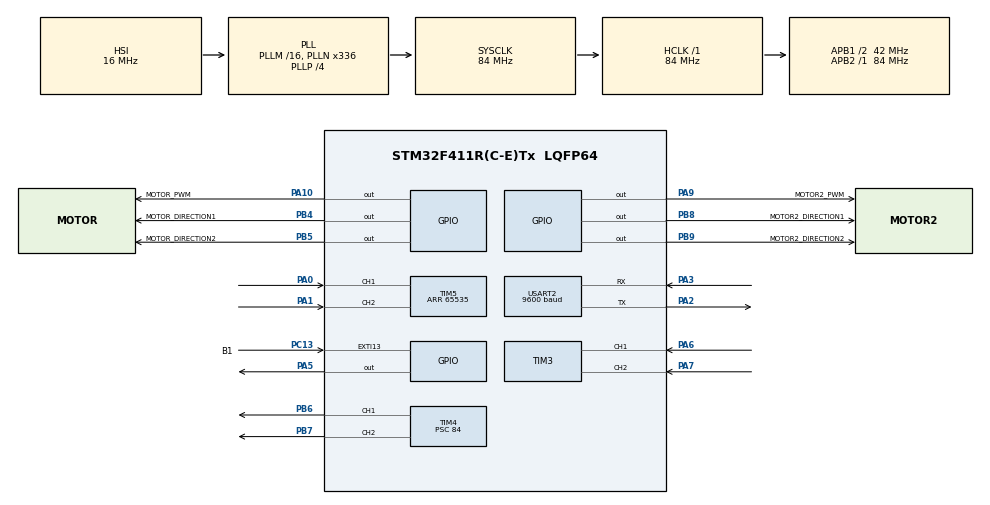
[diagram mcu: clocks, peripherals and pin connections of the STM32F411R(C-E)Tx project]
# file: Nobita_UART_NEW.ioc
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Dma.Request0=USART2_RX
Dma.USART2_RX.0.Direction=DMA_PERIPH_TO_MEMORY
Dma.USART2_RX.0.FIFOMode=DMA_FIFOMODE_DISABLE
Dma.USART2_RX.0.Instance=DMA1_Stream5
Dma.USART2_RX.0.MemDataAlignment=DMA_MDATAALIGN_BYTE
Dma.USART2_RX.0.MemInc=DMA_MINC_ENABLE
Dma.USART2_RX.0.Mode=DMA_CIRCULAR
Dma.USART2_RX.0.PeriphDataAlignment=DMA_PDATAALIGN_BYTE
Dma.USART2_RX.0.PeriphInc=DMA_PINC_DISABLE
Dma.USART2_RX.0.Priority=DMA_PRIORITY_LOW
Mcu.Family=STM32F4
Mcu.Name=STM32F411R(C-E)Tx
Mcu.Package=LQFP64
NVIC.DMA1_Stream5_IRQn=true\:0\:0\:false\:false\:true\:false\:true
NVIC.EXTI15_10_IRQn=true\:0\:0\:false\:false\:true\:true\:true
NVIC.PriorityGroup=NVIC_PRIORITYGROUP_4
NVIC.TIM1_UP_TIM10_IRQn=true\:0\:0\:false\:false\:true\:true\:true
NVIC.TIM2_IRQn=true\:0\:0\:false\:false\:true\:true\:true
NVIC.TIM3_IRQn=true\:0\:0\:false\:false\:true\:true\:true
NVIC.USART2_IRQn=true\:0\:0\:false\:false\:true\:true\:true
PA0-WKUP.GPIO_PuPd=GPIO_PULLUP
PA0-WKUP.Signal=S_TIM5_CH1
PA1.GPIO_PuPd=GPIO_PULLUP
PA1.Signal=S_TIM5_CH2
PA10.GPIO_Label=MOTOR_PWM
PA10.Signal=GPIO_Output
PA13.GPIO_Label=TMS
PA13.Mode=Serial_Wire
PA13.Signal=SYS_JTMS-SWDIO
PA14.GPIO_Label=TCK
PA14.Mode=Serial_Wire
PA14.Signal=SYS_JTCK-SWCLK
PA2.Mode=Asynchronous
PA2.Signal=USART2_TX
PA3.Mode=Asynchronous
PA3.Signal=USART2_RX
PA5.Signal=GPIO_Output
PA6.GPIO_PuPd=GPIO_PULLUP
PA6.Signal=S_TIM3_CH1
PA7.GPIO_PuPd=GPIO_PULLUP
PA7.Signal=S_TIM3_CH2
PA9.GPIO_Label=MOTOR2_PWM
PA9.Signal=GPIO_Output
PB3.GPIO_Label=SWO
PB3.Signal=SYS_JTDO-SWO
PB4.GPIO_Label=MOTOR_DIRECTION1
PB4.Signal=GPIO_Output
PB5.GPIO_Label=MOTOR_DIRECTION2
PB5.Signal=GPIO_Output
PB6.Signal=S_TIM4_CH1
PB7.Signal=S_TIM4_CH2
PB8.GPIO_Label=MOTOR2_DIRECTION1
PB8.Signal=GPIO_Output
PB9.GPIO_Label=MOTOR2_DIRECTION2
PB9.Signal=GPIO_Output
PC13-ANTI_TAMP.GPIO_Label=B1
PC13-ANTI_TAMP.Signal=GPXTI13
PC14-OSC32_IN.Mode=LSE-External-Oscillator
PC14-OSC32_IN.Signal=RCC_OSC32_IN
PC15-OSC32_OUT.Mode=LSE-External-Oscillator
PC15-OSC32_OUT.Signal=RCC_OSC32_OUT
PH0\ -\ OSC_IN.Mode=HSE-External-Clock-Source
PH0\ -\ OSC_IN.Signal=RCC_OSC_IN
PH1\ -\ OSC_OUT.Mode=HSE-External-Clock-Source
PH1\ -\ OSC_OUT.Signal=RCC_OSC_OUT
ProjectManager.HeapSize=0x200
ProjectManager.StackSize=0x400
ProjectManager.TargetToolchain=STM32CubeIDE
RCC.48MHZClocksFreq_Value=84000000
RCC.AHBFreq_Value=84000000
RCC.APB1CLKDivider=RCC_HCLK_DIV2
RCC.APB1Freq_Value=42000000
RCC.APB1TimFreq_Value=84000000
RCC.APB2Freq_Value=84000000
RCC.APB2TimFreq_Value=84000000
RCC.CortexFreq_Value=84000000
RCC.HCLKFreq_Value=84000000
RCC.HSE_VALUE=8000000
RCC.HSI_VALUE=16000000
RCC.PLLN=336
RCC.PLLP=RCC_PLLP_DIV4
RCC.SYSCLKFreq_VALUE=84000000
RCC.SYSCLKSource=RCC_SYSCLKSOURCE_PLLCLK
RCC.VCOOutputFreq_Value=336000000
SH.S_TIM3_CH1.0=TIM3_CH1,Encoder_Interface
SH.S_TIM3_CH2.0=TIM3_CH2,Encoder_Interface
SH.S_TIM4_CH1.0=TIM4_CH1,PWM Generation1 CH1
SH.S_TIM4_CH2.0=TIM4_CH2,PWM Generation2 CH2
SH.S_TIM5_CH1.0=TIM5_CH1,Encoder_Interface
SH.S_TIM5_CH2.0=TIM5_CH2,Encoder_Interface
TIM1.Period=1000
TIM1.Prescaler=84
TIM2.Period=800
TIM2.Prescaler=35999
TIM4.AutoReloadPreload=TIM_AUTORELOAD_PRELOAD_DISABLE
TIM4.Channel-PWM\ Generation1\ CH1=TIM_CHANNEL_1
TIM4.Channel-PWM\ Generation2\ CH2=TIM_CHANNEL_2
TIM4.Period=1000
TIM4.Prescaler=84
TIM5.Period=65535
USART2.BaudRate=9600
USART2.VirtualMode=VM_ASYNC
VP_TIM1_VS_ClockSourceINT.Mode=Internal
VP_TIM2_VS_ClockSourceINT.Mode=Internal
board=custom

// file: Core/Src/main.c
/* USER CODE BEGIN Header */
/**
  ******************************************************************************
  * @file           : main.c
  * @brief          : Main program body
  ******************************************************************************
  * @attention
  *
  * <h2><center>&copy; Copyright (c) 2020 STMicroelectronics.
  * All rights reserved.</center></h2>
  *
  * This software component is licensed by ST under BSD 3-Clause license,
  * the "License"; You may not use this file except in compliance with the
  * License. You may obtain a copy of the License at:
  *                        opensource.org/licenses/BSD-3-Clause
  *
  ******************************************************************************
  */
/*
 * MOTOR_PWM = PA10 = D2
 * MOTOR_PWM2 = PA9 = D8
 * MOTOR_DIRECTION1 = PB4 = D5
 * MOTOR_DIRECTION2 = PB5 = D4
 * MOTOR2_DIRECTION1 = PB8 = D15
 * MOTOR2_DIRECTION2 = PB9 = D14
 * TIM4_CH1 = PB6 = D12
 * TIM4_CH2 = PB7 = D11
 * TIM5_CH1 = PA0 = A0
 * TIM5_CH2 = PA1 = A1
 * TIM3_CH1 = PA6 = D12
 * TIM3_CH2 = PA7 = D11
 */
/* USER CODE END Header */
#include "main.h"

/* USER CODE BEGIN Includes */
#include "stdio.h"
#include "math.h"
/* USER CODE END Includes */

TIM_HandleTypeDef htim1;
TIM_HandleTypeDef htim2;
TIM_HandleTypeDef htim3;
TIM_HandleTypeDef htim4;
TIM_HandleTypeDef htim5;

UART_HandleTypeDef huart2;
DMA_HandleTypeDef hdma_usart2_rx;

/* USER CODE BEGIN PV */
uint8_t direction_l = 1;
uint8_t direction_r = 0;
float cycleTime = 0.1;
/* USER CODE END PV */

void SystemClock_Config(void);
static void MX_GPIO_Init(void);
static void MX_DMA_Init(void);
static void MX_TIM4_Init(void);
static void MX_TIM3_Init(void);
static void MX_USART2_UART_Init(void);
static void MX_TIM1_Init(void);
static void MX_TIM5_Init(void);
static void MX_TIM2_Init(void);

/* USER CODE BEGIN 0 */
uint8_t myTxData[4] = "OK\r\n";
uint8_t myRxData[16];
uint8_t testRxData[27]; // 21+\r+\n
//int RxSize = sizeof(testRxData) / sizeof(testRxData[0]);
int i = 0;

char buffer[50];
float wl,wr,dl,dr;
float _wl,_wr,_dl,_dr;
long encoder_value_l = 0;
long encoder_value_r = 0;
uint32_t en_l = 0;
float _mps_l = 0.0;
float _mps_r = 0.0;
float rpm_value_l = 0.00;
float rpm_value_r = 0.00;
uint8_t MSG1[50];
uint8_t MSG1_length;
uint8_t MSG2[50];
uint8_t MSG2_length;
uint8_t MSG3[50];
uint8_t MSG3_length;
//uint8_t MSGTEST[50];
//uint8_t MSGTEST_length;
uint8_t MSGOUTPUT[50];
uint8_t MSGOUTPUT_length;
uint8_t RX2_Char[2];
uint8_t Char_Buffer[20];
uint8_t Char_Buffer_length = 0;
uint8_t Char_Buffer_isRecieving = 0;
float cumError_l = 0.0;
float cumError_r = 0.0;
float error_l = 0.0;
float error_r = 0.0;
float error_p_l = 0.0;
float error_p_r = 0.0;
float kd_l=0;
float kd_r=0;
float ki_l=0.000001;
float ki_r=0.000001;

float kp_l=100;
float kp_r=100;

float ErrorI_l = 0.0;
float ErrorI_r = 0.0;

int pwm_l = 0;
int pwm_r = 0;

float output_l = 0.0;
float output_r = 0.0;
float rateError_l = 0.0;
float rateError_r = 0.0;
float testval = 599;
float mps_l = 0.0;
float mps_r = 0.0;
float wheel_diameter = 0.108;
//for test begin
long test_encoder=0;
//for test end
void setSpeed(){
	//HAL_GPIO_TogglePin(GPIO)
	HAL_GPIO_WritePin(MOTOR_DIRECTION1_GPIO_Port,MOTOR_DIRECTION1_Pin,_dl);
	HAL_GPIO_WritePin(MOTOR_DIRECTION2_GPIO_Port,MOTOR_DIRECTION2_Pin,!_dl);
//	__HAL_TIM_SET_COMPARE(&htim4, TIM_CHANNEL_1, pwm_l);
	//HAL_GPIO_WritePin(MOTOR_PWM_GPIO_Port,MOTOR2_PWM_Pin,direction_r);
	HAL_GPIO_WritePin(MOTOR2_DIRECTION1_GPIO_Port,MOTOR2_DIRECTION1_Pin,_dr);
	HAL_GPIO_WritePin(MOTOR2_DIRECTION2_GPIO_Port,MOTOR2_DIRECTION2_Pin,!_dr);
//	__HAL_TIM_SET_COMPARE(&htim4, TIM_CHANNEL_2, 0);

//	htim4.Instance->CCR1=wr*1000;
	htim4.Instance->CCR1=pwm_r;
	htim4.Instance->CCR2=pwm_l;

	HAL_TIM_PWM_Start(&htim4, TIM_CHANNEL_1);
	HAL_TIM_PWM_Start(&htim4, TIM_CHANNEL_2);
	//HAL_Delay(1);
//	__HAL_TIM_SET_AUTORELOAD(&htim4, wl*1000.0);

}
double convert2mps(int en_val){
	double output;
	output = en_val * 0.000015773 / 0.1;
	return output;
}

/* USER CODE END 0 */

int main(void)
{
  /* USER CODE BEGIN 1 */
	//int a = log(EN_L);
  /* USER CODE END 1 */

  /* MCU Configuration--------------------------------------------------------*/

  /* Reset of all peripherals, Initializes the Flash interface and the Systick. */
  HAL_Init();

  /* Configure the system clock */
  SystemClock_Config();

  /* Initialize all configured peripherals */
  MX_GPIO_Init();
  MX_DMA_Init();
  MX_TIM4_Init();
  MX_TIM3_Init();
  MX_USART2_UART_Init();
  MX_TIM1_Init();
  MX_TIM5_Init();
  MX_TIM2_Init();
  /* USER CODE BEGIN 2 */
  HAL_UART_Receive_DMA(&huart2, testRxData, 27);
  HAL_TIM_PWM_Start(&htim4, TIM_CHANNEL_1);
  HAL_TIM_PWM_Start(&htim4, TIM_CHANNEL_2);
  HAL_TIM_Base_Start_IT(&htim1);
  HAL_TIM_Base_Start_IT(&htim2);
  HAL_TIM_Base_Start_IT(&htim3);
  HAL_TIM_Base_Start_IT(&htim5);
  //necessary for encoder init begin
  HAL_TIM_Encoder_Start_IT(&htim3, TIM_CHANNEL_ALL);
  HAL_TIM_Encoder_Start_IT(&htim5, TIM_CHANNEL_ALL);
  //necessary for encoder init end
  /* USER CODE END 2 */
  pwm_l = 0;
  pwm_r = 0;
  cumError_l=0;
  cumError_r=0;
  ErrorI_l=0;
  ErrorI_r=0;
  /* Infinite loop */
  while (1)
  {

    /* USER CODE BEGIN 3 */

	  HAL_Delay(1000);
  }
  /* USER CODE END 3 */
}

void SystemClock_Config(void)
{
  RCC_OscInitTypeDef RCC_OscInitStruct = {0};
  RCC_ClkInitTypeDef RCC_ClkInitStruct = {0};

  /** Configure the main internal regulator output voltage
  */
  __HAL_RCC_PWR_CLK_ENABLE();
  __HAL_PWR_VOLTAGESCALING_CONFIG(PWR_REGULATOR_VOLTAGE_SCALE1);
  /** Initializes the RCC Oscillators according to the specified parameters
  * in the RCC_OscInitTypeDef structure.
  */
  RCC_OscInitStruct.OscillatorType = RCC_OSCILLATORTYPE_HSI;
  RCC_OscInitStruct.HSIState = RCC_HSI_ON;
  RCC_OscInitStruct.HSICalibrationValue = RCC_HSICALIBRATION_DEFAULT;
  RCC_OscInitStruct.PLL.PLLState = RCC_PLL_ON;
  RCC_OscInitStruct.PLL.PLLSource = RCC_PLLSOURCE_HSI;
  RCC_OscInitStruct.PLL.PLLM = 16;
  RCC_OscInitStruct.PLL.PLLN = 336;
  RCC_OscInitStruct.PLL.PLLP = RCC_PLLP_DIV4;
  RCC_OscInitStruct.PLL.PLLQ = 4;
  if (HAL_RCC_OscConfig(&RCC_OscInitStruct) != HAL_OK)
  {
    Error_Handler();
  }
  /** Initializes the CPU, AHB and APB buses clocks
  */
  RCC_ClkInitStruct.ClockType = RCC_CLOCKTYPE_HCLK|RCC_CLOCKTYPE_SYSCLK
                              |RCC_CLOCKTYPE_PCLK1|RCC_CLOCKTYPE_PCLK2;
  RCC_ClkInitStruct.SYSCLKSource = RCC_SYSCLKSOURCE_PLLCLK;
  RCC_ClkInitStruct.AHBCLKDivider = RCC_SYSCLK_DIV1;
  RCC_ClkInitStruct.APB1CLKDivider = RCC_HCLK_DIV2;
  RCC_ClkInitStruct.APB2CLKDivider = RCC_HCLK_DIV1;

  if (HAL_RCC_ClockConfig(&RCC_ClkInitStruct, FLASH_LATENCY_2) != HAL_OK)
  {
    Error_Handler();
  }
}

static void MX_TIM1_Init(void)
{

  TIM_ClockConfigTypeDef sClockSourceConfig = {0};
  TIM_MasterConfigTypeDef sMasterConfig = {0};

  htim1.Instance = TIM1;
  htim1.Init.Prescaler = 84;
  htim1.Init.CounterMode = TIM_COUNTERMODE_UP;
  htim1.Init.Period = 1000;
  htim1.Init.ClockDivision = TIM_CLOCKDIVISION_DIV1;
  htim1.Init.RepetitionCounter = 0;
  htim1.Init.AutoReloadPreload = TIM_AUTORELOAD_PRELOAD_DISABLE;
  if (HAL_TIM_Base_Init(&htim1) != HAL_OK)
  {
    Error_Handler();
  }
  sClockSourceConfig.ClockSource = TIM_CLOCKSOURCE_INTERNAL;
  if (HAL_TIM_ConfigClockSource(&htim1, &sClockSourceConfig) != HAL_OK)
  {
    Error_Handler();
  }
  sMasterConfig.MasterOutputTrigger = TIM_TRGO_RESET;
  sMasterConfig.MasterSlaveMode = TIM_MASTERSLAVEMODE_DISABLE;
  if (HAL_TIMEx_MasterConfigSynchronization(&htim1, &sMasterConfig) != HAL_OK)
  {
    Error_Handler();
  }

}

static void MX_TIM2_Init(void)
{

  TIM_ClockConfigTypeDef sClockSourceConfig = {0};
  TIM_MasterConfigTypeDef sMasterConfig = {0};

  htim2.Instance = TIM2;
  htim2.Init.Prescaler = 35999;
  htim2.Init.CounterMode = TIM_COUNTERMODE_UP;
  htim2.Init.Period = 800;
  htim2.Init.ClockDivision = TIM_CLOCKDIVISION_DIV1;
  htim2.Init.AutoReloadPreload = TIM_AUTORELOAD_PRELOAD_DISABLE;
  if (HAL_TIM_Base_Init(&htim2) != HAL_OK)
  {
    Error_Handler();
  }
  sClockSourceConfig.ClockSource = TIM_CLOCKSOURCE_INTERNAL;
  if (HAL_TIM_ConfigClockSource(&htim2, &sClockSourceConfig) != HAL_OK)
  {
    Error_Handler();
  }
  sMasterConfig.MasterOutputTrigger = TIM_TRGO_RESET;
  sMasterConfig.MasterSlaveMode = TIM_MASTERSLAVEMODE_DISABLE;
  if (HAL_TIMEx_MasterConfigSynchronization(&htim2, &sMasterConfig) != HAL_OK)
  {
    Error_Handler();
  }

}

static void MX_TIM3_Init(void)
{

  TIM_Encoder_InitTypeDef sConfig = {0};
  TIM_MasterConfigTypeDef sMasterConfig = {0};

  htim3.Instance = TIM3;
  htim3.Init.Prescaler = 0;
  htim3.Init.CounterMode = TIM_COUNTERMODE_UP;
  htim3.Init.Period = 65535;
  htim3.Init.ClockDivision = TIM_CLOCKDIVISION_DIV1;
  htim3.Init.AutoReloadPreload = TIM_AUTORELOAD_PRELOAD_DISABLE;
  sConfig.EncoderMode = TIM_ENCODERMODE_TI1;
  sConfig.IC1Polarity = TIM_ICPOLARITY_RISING;
  sConfig.IC1Selection = TIM_ICSELECTION_DIRECTTI;
  sConfig.IC1Prescaler = TIM_ICPSC_DIV1;
  sConfig.IC1Filter = 0;
  sConfig.IC2Polarity = TIM_ICPOLARITY_RISING;
  sConfig.IC2Selection = TIM_ICSELECTION_DIRECTTI;
  sConfig.IC2Prescaler = TIM_ICPSC_DIV1;
  sConfig.IC2Filter = 0;
  if (HAL_TIM_Encoder_Init(&htim3, &sConfig) != HAL_OK)
  {
    Error_Handler();
  }
  sMasterConfig.MasterOutputTrigger = TIM_TRGO_RESET;
  sMasterConfig.MasterSlaveMode = TIM_MASTERSLAVEMODE_DISABLE;
  if (HAL_TIMEx_MasterConfigSynchronization(&htim3, &sMasterConfig) != HAL_OK)
  {
    Error_Handler();
  }

}

static void MX_TIM4_Init(void)
{

  TIM_MasterConfigTypeDef sMasterConfig = {0};
  TIM_OC_InitTypeDef sConfigOC = {0};

  htim4.Instance = TIM4;
  htim4.Init.Prescaler = 84;
  htim4.Init.CounterMode = TIM_COUNTERMODE_UP;
  htim4.Init.Period = 1000;
  htim4.Init.ClockDivision = TIM_CLOCKDIVISION_DIV1;
  htim4.Init.AutoReloadPreload = TIM_AUTORELOAD_PRELOAD_DISABLE;
  if (HAL_TIM_PWM_Init(&htim4) != HAL_OK)
  {
    Error_Handler();
  }
  sMasterConfig.MasterOutputTrigger = TIM_TRGO_RESET;
  sMasterConfig.MasterSlaveMode = TIM_MASTERSLAVEMODE_DISABLE;
  if (HAL_TIMEx_MasterConfigSynchronization(&htim4, &sMasterConfig) != HAL_OK)
  {
    Error_Handler();
  }
  sConfigOC.OCMode = TIM_OCMODE_PWM1;
  sConfigOC.Pulse = 0;
  sConfigOC.OCPolarity = TIM_OCPOLARITY_HIGH;
  sConfigOC.OCFastMode = TIM_OCFAST_DISABLE;
  if (HAL_TIM_PWM_ConfigChannel(&htim4, &sConfigOC, TIM_CHANNEL_1) != HAL_OK)
  {
    Error_Handler();
  }
  if (HAL_TIM_PWM_ConfigChannel(&htim4, &sConfigOC, TIM_CHANNEL_2) != HAL_OK)
  {
    Error_Handler();
  }
  HAL_TIM_MspPostInit(&htim4);

}

static void MX_TIM5_Init(void)
{

  TIM_Encoder_InitTypeDef sConfig = {0};
  TIM_MasterConfigTypeDef sMasterConfig = {0};

  htim5.Instance = TIM5;
  htim5.Init.Prescaler = 0;
  htim5.Init.CounterMode = TIM_COUNTERMODE_UP;
  htim5.Init.Period = 65535;
  htim5.Init.ClockDivision = TIM_CLOCKDIVISION_DIV1;
  htim5.Init.AutoReloadPreload = TIM_AUTORELOAD_PRELOAD_DISABLE;
  sConfig.EncoderMode = TIM_ENCODERMODE_TI1;
  sConfig.IC1Polarity = TIM_ICPOLARITY_RISING;
  sConfig.IC1Selection = TIM_ICSELECTION_DIRECTTI;
  sConfig.IC1Prescaler = TIM_ICPSC_DIV1;
  sConfig.IC1Filter = 0;
  sConfig.IC2Polarity = TIM_ICPOLARITY_RISING;
  sConfig.IC2Selection = TIM_ICSELECTION_DIRECTTI;
  sConfig.IC2Prescaler = TIM_ICPSC_DIV1;
  sConfig.IC2Filter = 0;
  if (HAL_TIM_Encoder_Init(&htim5, &sConfig) != HAL_OK)
  {
    Error_Handler();
  }
  sMasterConfig.MasterOutputTrigger = TIM_TRGO_RESET;
  sMasterConfig.MasterSlaveMode = TIM_MASTERSLAVEMODE_DISABLE;
  if (HAL_TIMEx_MasterConfigSynchronization(&htim5, &sMasterConfig) != HAL_OK)
  {
    Error_Handler();
  }

}

static void MX_USART2_UART_Init(void)
{

  huart2.Instance = USART2;
  huart2.Init.BaudRate = 9600;
  huart2.Init.WordLength = UART_WORDLENGTH_8B;
  huart2.Init.StopBits = UART_STOPBITS_1;
  huart2.Init.Parity = UART_PARITY_NONE;
  huart2.Init.Mode = UART_MODE_TX_RX;
  huart2.Init.HwFlowCtl = UART_HWCONTROL_NONE;
  huart2.Init.OverSampling = UART_OVERSAMPLING_16;
  if (HAL_UART_Init(&huart2) != HAL_OK)
  {
    Error_Handler();
  }

}

static void MX_DMA_Init(void)
{

  /* DMA controller clock enable */
  __HAL_RCC_DMA1_CLK_ENABLE();

  /* DMA interrupt init */
  /* DMA1_Stream5_IRQn interrupt configuration */
  HAL_NVIC_SetPriority(DMA1_Stream5_IRQn, 0, 0);
  HAL_NVIC_EnableIRQ(DMA1_Stream5_IRQn);

}

static void MX_GPIO_Init(void)
{
  GPIO_InitTypeDef GPIO_InitStruct = {0};

  /* GPIO Ports Clock Enable */
  __HAL_RCC_GPIOC_CLK_ENABLE();
  __HAL_RCC_GPIOH_CLK_ENABLE();
  __HAL_RCC_GPIOA_CLK_ENABLE();
  __HAL_RCC_GPIOB_CLK_ENABLE();

  /*Configure GPIO pin Output Level */
  HAL_GPIO_WritePin(GPIOA, GPIO_PIN_5|MOTOR2_PWM_Pin|MOTOR_PWM_Pin, GPIO_PIN_RESET);

  /*Configure GPIO pin Output Level */
  HAL_GPIO_WritePin(GPIOB, MOTOR_DIRECTION1_Pin|MOTOR_DIRECTION2_Pin|MOTOR2_DIRECTION1_Pin|MOTOR2_DIRECTION2_Pin, GPIO_PIN_RESET);

  /*Configure GPIO pin : B1_Pin */
  GPIO_InitStruct.Pin = B1_Pin;
  GPIO_InitStruct.Mode = GPIO_MODE_IT_RISING;
  GPIO_InitStruct.Pull = GPIO_NOPULL;
  HAL_GPIO_Init(B1_GPIO_Port, &GPIO_InitStruct);

  /*Configure GPIO pins : PA5 MOTOR2_PWM_Pin MOTOR_PWM_Pin */
  GPIO_InitStruct.Pin = GPIO_PIN_5|MOTOR2_PWM_Pin|MOTOR_PWM_Pin;
  GPIO_InitStruct.Mode = GPIO_MODE_OUTPUT_PP;
  GPIO_InitStruct.Pull = GPIO_NOPULL;
  GPIO_InitStruct.Speed = GPIO_SPEED_FREQ_LOW;
  HAL_GPIO_Init(GPIOA, &GPIO_InitStruct);

  /*Configure GPIO pins : MOTOR_DIRECTION1_Pin MOTOR_DIRECTION2_Pin MOTOR2_DIRECTION1_Pin MOTOR2_DIRECTION2_Pin */
  GPIO_InitStruct.Pin = MOTOR_DIRECTION1_Pin|MOTOR_DIRECTION2_Pin|MOTOR2_DIRECTION1_Pin|MOTOR2_DIRECTION2_Pin;
  GPIO_InitStruct.Mode = GPIO_MODE_OUTPUT_PP;
  GPIO_InitStruct.Pull = GPIO_NOPULL;
  GPIO_InitStruct.Speed = GPIO_SPEED_FREQ_LOW;
  HAL_GPIO_Init(GPIOB, &GPIO_InitStruct);

  /* EXTI interrupt init*/
  HAL_NVIC_SetPriority(EXTI15_10_IRQn, 0, 0);
  HAL_NVIC_EnableIRQ(EXTI15_10_IRQn);

}

/* USER CODE BEGIN 4 */
int buffer_length;
void HAL_UART_TxCpltCallback(UART_HandleTypeDef *huart)
{

}
void HAL_UART_RxCpltCallback(UART_HandleTypeDef *huart)
{
  /* Prevent unused argument(s) compilation warning */
  UNUSED(huart);
  /* NOTE: This function should not be modified, when the callback is needed,
           the HAL_UART_RxCpltCallback could be implemented in the user file
   */

  //set variables
  sscanf(testRxData,"%f,%f,%f,%f",&wl,&wr,&dl,&dr);
  buffer_length = sprintf(buffer, "%f,%f,%.1f,%.1f\r\n",wl,wr,dl,dr);
  _wl = wl;
  _wr = wr;
  _dl = dl;
  _dr = dr;
  HAL_GPIO_TogglePin(GPIOA, GPIO_PIN_5);
  /*
  encoder_value_l = htim3.Instance->CNT - 30000;
  encoder_value_r = htim5.Instance->CNT - 30000;
  htim3.Instance->CNT = 30000;
  htim5.Instance->CNT = 30000;

  //RPM VALUE SHOULD BE ((EN_VAL*60)/PPR)/GEAR_RATIO
  rpm_value_l = (encoder_value_l*60.0)/46000.0;
  rpm_value_r = (encoder_value_r*60.0)/46000.0;
  ms_l = (rpm_value_l/60)*wheel_diameter;
  MSG1_length = sprintf(MSG1,"EncoderL = %d RPM = %.2f\r\nOUTPUT_L=%f\r\n", encoder_value_l, rpm_value_l,output_l);
  MSG2_length = sprintf(MSG2,"EncoderR = %d RPM = %.2f\r\nOUTPUT_R=%f\r\n", encoder_value_r, rpm_value_r,output_r);
  */
  HAL_UART_Transmit(&huart2, buffer, buffer_length, 100);}

void HAL_TIM_PeriodElapsedCallback(TIM_HandleTypeDef *htim)
{
  /* Prevent unused argument(s) compilation warning */
  if(htim->Instance == TIM2){
	  //HAL_UART_Transmit(&huart2, "hi\r\n", 4, 100);

	  HAL_GPIO_TogglePin(GPIOA, GPIO_PIN_5);
	  HAL_GPIO_TogglePin(GPIOA, GPIO_PIN_5);
	  encoder_value_l = htim3.Instance->CNT - 30000;
	  encoder_value_r = htim5.Instance->CNT - 30000;
	  /*
	  if(test_encoder<0){
		  test_encoder*=-1;
	  }
	  */
	  test_encoder += encoder_value_l;
	  htim3.Instance->CNT = 30000;
	  htim5.Instance->CNT = 30000;

	  //RPM VALUE SHOULD BE ((EN_VAL*60)/PPR)/GEAR_RATIO
	  /*
	  rpm_value_l = (encoder_value_l*60.0)/46000.0;
	  rpm_value_r = (encoder_value_r*60.0)/46000.0;
	  ms_l = (rpm_value_l/60)*wheel_diameter;
	  */
	  mps_l = convert2mps(encoder_value_l);
	  mps_r = convert2mps(encoder_value_r);
	  MSG1_length = sprintf(MSG1,"EncoderL = %d MPS_L = %.2f m/s\r\n", encoder_value_l, mps_l);
	  MSG2_length = sprintf(MSG2,"EncoderR = %d MPS_R = %.2f m/s\r\n", encoder_value_r, mps_r);
	  /*
	  MSGTEST_length = sprintf(MSGTEST,"\nTEST = %d\r\n",test_encoder);
	  */
	  //MSGOUTPUT AFTER PID
	  if(mps_l<0){
		  _mps_l=mps_l*-1;
	  }
	  else{
		  _mps_l=mps_l;
	  }
	  if(mps_r<0){
		  _mps_r=mps_r;
	  }
	  else{
		  _mps_r=mps_r;
	  }

	  error_l = _wl - _mps_l;
	  error_r = _wr - _mps_r;

	  cumError_l += error_l;// * cycleTime;
	  //rateError_l += (error_l - error_p_l)/cycleTime;
	  //output_l = kp_l*error_l + ki_l*cumError_l + kd_l*rateError_l;
	  //error_p_l = error_l;

	  cumError_r += error_r;// * cycleTime;
	  //rateError_r += (error_r - error_p_r)/cycleTime;
	  //output_r = kp_r*error_r + ki_r*cumError_r + kd_r*rateError_r;
	  //error_p_r = error_r;

	  //pwm_l += (kp_l*error_l);
	  //pwm_r += (kp_r*error_r);
	  ErrorI_l = ki_l*cumError_l;
	  ErrorI_r = ki_r*cumError_r;
	  pwm_l += kp_l*error_l+ErrorI_l;
	  pwm_r += kp_r*error_r+ErrorI_r;

	  if(pwm_l < 0) pwm_l = 0;
	  if(pwm_l < 50 && error_l < 0.0001) pwm_l = 0;
	  if(pwm_l > 400) pwm_l = 400;
	  if(_wl < 0.0001) pwm_l = 0;

	  if(pwm_r < 0) pwm_r = 0;
	  if(pwm_r < 50 && error_r < 0.0001) pwm_r = 0;
	  if(pwm_r > 400) pwm_r = 400;
	  if(_wr < 0.0001) pwm_r = 0;

	  //USE OUTPUT_L

	  //USE OUTPUT_R
	  //MSGOUTPUT_length = sprintf(MSGOUTPUT, "Output_l = %f\tOutput_r = %f\r\npwm_l = %d\r\n",output_l,output_r,pwm_l);
	  MSG1_length = sprintf(MSG1, "Target_wl=%.2f m/s\tEnc_l=%.2f m/s\tpwm_r=%d\r\n",_wl,mps_l,pwm_l);
	  MSG2_length = sprintf(MSG2, "Target_wr=%.2f m/s\tEnc_r=%.2f m/s\tpwm_r=%d\r\n",_wr,mps_r,pwm_r);
	  MSG3_length = sprintf(MSG3, "ErrorI_l = %.2f\tErrorI_r = %.2f\r\n",ErrorI_l,ErrorI_r);
	  //USE OUTPUT_R
	  //previousTime = currentTime;
	  HAL_UART_Transmit(&huart2, MSG1, MSG1_length, 50);
	  HAL_UART_Transmit(&huart2, MSG2, MSG2_length, 50);
	  HAL_UART_Transmit(&huart2, MSG3, MSG3_length, 50);
//	  HAL_UART_Transmit(&huart2, MSGOUTPUT, MSGOUTPUT_length, 100);

	  setSpeed();

  }

  /* NOTE : This function should not be modified, when the callback is needed,
            the HAL_TIM_PeriodElapsedCallback could be implemented in the user file
   */
}
/*
float computePID(struct PIDValues wheel){  //float _input, float _setPoint
  //currentTime = millis();
  //elapsedTime = (float)(currentTime-elapsedTime);
  error_l = _wl - encoder_value_l;
  cumError_l += _wl * cycleTime;
  rateError_l += (error_l - error_p_l)/cycleTime;
  output_l = kp*wheel.error + ki*cumError_l + kd*rateError_l;
  error_p_l = error_l;
  //previousTime = currentTime;
  return output_l;
}
*/
/* USER CODE END 4 */

void Error_Handler(void)
{
}

/************************ (C) COPYRIGHT STMicroelectronics *****END OF FILE****/
